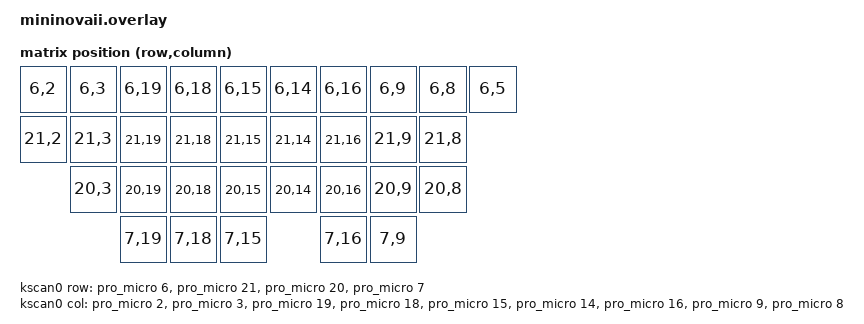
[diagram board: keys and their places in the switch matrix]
/*
 * Copyright (c) 2021 The ZMK Contributors
 *
 * SPDX-License-Identifier: MIT
 */

#include <dt-bindings/zmk/matrix_transform.h>

/ {
    chosen {
        zmk,kscan = &kscan0;
        zmk,matrix_transform = &default_transform;
    };

    default_transform: keymap_transform_0 {
        compatible = "zmk,matrix-transform";
        columns = <10>;
        rows = <4>;
        map = <
RC(6,2)  RC(6,3)  RC(6,19)  RC(6,18)  RC(6,15)  RC(6,14)  RC(6,16)  RC(6,9)  RC(6,8) RC(6,5)
RC(21,2) RC(21,3) RC(21,19) RC(21,18) RC(21,15) RC(21,14) RC(21,16) RC(21,9) RC(21,8)
         RC(20,3) RC(20,19) RC(20,18) RC(20,15) RC(20,14) RC(20,16) RC(20,9) RC(20,8)
                  RC(7,19)  RC(7,18)  RC(7,15)            RC(7,16)  RC(7,9)
        >;
        
    };

    kscan0: kscan_0 {
        compatible = "zmk,kscan-gpio-matrix";
        label = "KSCAN";
        diode-direction = "col2row";

        col-gpios
            = <&pro_micro 2 GPIO_ACTIVE_HIGH>
            , <&pro_micro 3 GPIO_ACTIVE_HIGH>
            , <&pro_micro 19 GPIO_ACTIVE_HIGH>
            , <&pro_micro 18 GPIO_ACTIVE_HIGH>
            , <&pro_micro 15 GPIO_ACTIVE_HIGH>
            , <&pro_micro 14 GPIO_ACTIVE_HIGH>
            , <&pro_micro 16 GPIO_ACTIVE_HIGH>
            , <&pro_micro 9 GPIO_ACTIVE_HIGH>
            , <&pro_micro 8 GPIO_ACTIVE_HIGH>
            ;

        row-gpios
            = <&pro_micro 6 (GPIO_ACTIVE_HIGH | GPIO_PULL_DOWN)>
            , <&pro_micro 21 (GPIO_ACTIVE_HIGH | GPIO_PULL_DOWN)>
            , <&pro_micro 20 (GPIO_ACTIVE_HIGH | GPIO_PULL_DOWN)>
            , <&pro_micro 7 (GPIO_ACTIVE_HIGH | GPIO_PULL_DOWN)>
            ;
    };
};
